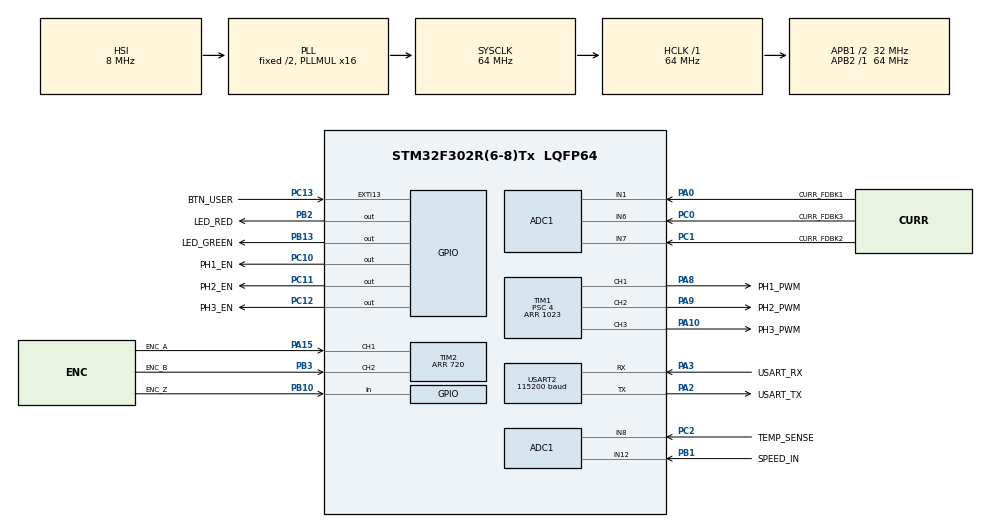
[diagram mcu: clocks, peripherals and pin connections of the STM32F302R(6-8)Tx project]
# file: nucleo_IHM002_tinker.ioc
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ADC1.Channel-0\#ChannelRegularConversion=ADC_CHANNEL_1
ADC1.ClockPrescaler=ADC_CLOCK_SYNC_PCLK_DIV1
ADC1.NbrOfConversionFlag=1
ADC1.Offset-0\#ChannelRegularConversion=0
ADC1.OffsetNumber-0\#ChannelRegularConversion=ADC_OFFSET_NONE
ADC1.Rank-0\#ChannelRegularConversion=1
ADC1.SamplingTime-0\#ChannelRegularConversion=ADC_SAMPLETIME_1CYCLE_5
ADC1.SubFamily=STM32F302x8
ADC1.master=1
Mcu.Family=STM32F3
Mcu.Name=STM32F302R(6-8)Tx
Mcu.Package=LQFP64
NVIC.PriorityGroup=NVIC_PRIORITYGROUP_4
NVIC.TIM1_TRG_COM_TIM17_IRQn=true\:0\:0\:false\:false\:true\:true\:true\:true
NVIC.TIM1_UP_TIM16_IRQn=true\:0\:0\:false\:false\:true\:true\:true\:true
NVIC.TIM2_IRQn=true\:2\:0\:true\:false\:true\:true\:true\:true
PA0.GPIO_Label=CURR_FDBK1
PA0.Mode=IN1-Single-Ended
PA0.Signal=ADC1_IN1
PA10.GPIO_Label=PH3_PWM
PA10.Signal=S_TIM1_CH3
PA13.GPIO_Label=TMS
PA13.Mode=Serial_Wire
PA13.Signal=SYS_JTMS-SWDIO
PA14.GPIO_Label=TCK
PA14.Mode=Serial_Wire
PA14.Signal=SYS_JTCK-SWCLK
PA15.GPIO_Label=ENC_A
PA15.Signal=S_TIM2_CH1_ETR
PA2.GPIO_Label=USART_TX
PA2.GPIO_Mode=GPIO_MODE_AF_PP
PA2.GPIO_PuPd=GPIO_NOPULL
PA2.GPIO_Speed=GPIO_SPEED_FREQ_LOW
PA2.Mode=Asynchronous
PA2.Signal=USART2_TX
PA3.GPIO_Label=USART_RX
PA3.GPIO_Mode=GPIO_MODE_AF_PP
PA3.GPIO_PuPd=GPIO_NOPULL
PA3.GPIO_Speed=GPIO_SPEED_FREQ_LOW
PA3.Mode=Asynchronous
PA3.Signal=USART2_RX
PA8.GPIO_Label=PH1_PWM
PA8.Signal=S_TIM1_CH1
PA9.GPIO_Label=PH2_PWM
PA9.Signal=S_TIM1_CH2
PB1.GPIO_Label=SPEED_IN
PB1.Mode=IN12-Single-Ended
PB1.Signal=ADC1_IN12
PB10.GPIO_Label=ENC_Z
PB10.Signal=GPIO_Input
PB13.GPIO_Label=LED_GREEN
PB13.Signal=GPIO_Output
PB2.GPIO_Label=LED_RED
PB2.Signal=GPIO_Output
PB3.GPIO_Label=ENC_B
PB3.Signal=S_TIM2_CH2
PC0.GPIO_Label=CURR_FDBK3
PC0.Signal=ADCx_IN6
PC1.GPIO_Label=CURR_FDBK2
PC1.Signal=ADCx_IN7
PC10.GPIO_Label=PH1_EN
PC10.Signal=GPIO_Output
PC11.GPIO_Label=PH2_EN
PC11.Signal=GPIO_Output
PC12.GPIO_Label=PH3_EN
PC12.Signal=GPIO_Output
PC13.GPIO_Label=BTN_USER
PC13.GPIO_ModeDefaultEXTI=GPIO_MODE_IT_FALLING
PC13.Signal=GPXTI13
PC14\ -\ OSC32_IN.Mode=LSE-External-Oscillator
PC14\ -\ OSC32_IN.Signal=RCC_OSC32_IN
PC15\ -\ OSC32_OUT.Mode=LSE-External-Oscillator
PC15\ -\ OSC32_OUT.Signal=RCC_OSC32_OUT
PC2.GPIO_Label=TEMP_SENSE
PC2.Signal=ADCx_IN8
PF0-OSC_IN.Mode=HSE-External-Clock-Source
PF0-OSC_IN.Signal=RCC_OSC_IN
PF1-OSC_OUT.Signal=RCC_OSC_OUT
ProjectManager.HeapSize=0x200
ProjectManager.StackSize=0x400
ProjectManager.TargetToolchain=STM32CubeIDE
RCC.AHBFreq_Value=64000000
RCC.APB1CLKDivider=RCC_HCLK_DIV2
RCC.APB1Freq_Value=32000000
RCC.APB1TimFreq_Value=64000000
RCC.APB2Freq_Value=64000000
RCC.APB2TimFreq_Value=64000000
RCC.CortexFreq_Value=64000000
RCC.HCLKFreq_Value=64000000
RCC.HSE_VALUE=8000000
RCC.HSI_VALUE=8000000
RCC.PLLM=8
RCC.PLLMUL=RCC_PLL_MUL16
RCC.PLLN=336
RCC.PLLP=RCC_PLLP_DIV4
RCC.PLLQ=7
RCC.RCC_PLLsource_Clock_Source_FROM_HSE=RCC_HSE_PREDIV_DIV2
RCC.SYSCLKFreq_VALUE=64000000
RCC.SYSCLKSourceVirtual=RCC_SYSCLKSOURCE_PLLCLK
RCC.USBFreq_Value=64000000
SH.ADCx_IN6.0=ADC1_IN6,IN6-Single-Ended
SH.ADCx_IN7.0=ADC1_IN7,IN7-Single-Ended
SH.ADCx_IN8.0=ADC1_IN8,IN8-Single-Ended
SH.S_TIM1_CH1.0=TIM1_CH1,PWM Generation1 CH1
SH.S_TIM1_CH2.0=TIM1_CH2,PWM Generation2 CH2
SH.S_TIM1_CH3.0=TIM1_CH3,PWM Generation3 CH3
SH.S_TIM2_CH1_ETR.0=TIM2_CH1,Encoder_Interface
SH.S_TIM2_CH2.0=TIM2_CH2,Encoder_Interface
TIM1.Channel-PWM\ Generation1\ CH1=TIM_CHANNEL_1
TIM1.Channel-PWM\ Generation2\ CH2=TIM_CHANNEL_2
TIM1.Channel-PWM\ Generation3\ CH3=TIM_CHANNEL_3
TIM1.Period=1023
TIM1.Prescaler=4
TIM1.Pulse-PWM\ Generation1\ CH1=500
TIM1.Pulse-PWM\ Generation2\ CH2=500
TIM1.Pulse-PWM\ Generation3\ CH3=750
TIM2.Period=720
USART2.BaudRate=115200
USART2.VirtualMode-Asynchronous=VM_ASYNC
VP_TIM1_VS_ClockSourceINT.Mode=Internal
board=NUCLEO-F302R8

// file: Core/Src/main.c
/* USER CODE BEGIN Header */
/**
  ******************************************************************************
  * @file           : main.c
  * @brief          : Main program body
  ******************************************************************************
  * @attention
  *
  * Copyright (c) 2022 STMicroelectronics.
  * All rights reserved.
  *
  * This software is licensed under terms that can be found in the LICENSE file
  * in the root directory of this software component.
  * If no LICENSE file comes with this software, it is provided AS-IS.
  *
  ******************************************************************************
  */
/* USER CODE END Header */
#include "main.h"
#include "adc.h"
#include "tim.h"
#include "usart.h"
#include "gpio.h"

/* USER CODE BEGIN Includes */
#include <stdio.h>

/* USER CODE END Includes */

/* USER CODE BEGIN PD */
#define STOP_HERE()    while(1);
/* USER CODE END PD */

/* USER CODE BEGIN PV */

const uint16_t sine[360] = {
     512, 521, 530, 539, 548, 557, 565, 574, 583, 592, 601, 610, 618, 627, 636, 644,
     653, 661, 670, 678, 687, 695, 703, 712, 720, 728, 736, 744, 752, 760, 768, 775,
     783, 790, 798, 805, 812, 820, 827, 834, 840, 847, 854, 861, 867, 873, 880, 886,
     892, 898, 903, 909, 915, 920, 925, 931, 936, 941, 945, 950, 955, 959, 963, 967,
     971, 975, 979, 982, 986, 989, 992, 995, 998,1001,1003,1006,1008,1010,1012,1014,
    1015,1017,1018,1019,1020,1021,1022,1022,1023,1023,1023,1023,1023,1022,1022,1021,
    1020,1019,1018,1017,1015,1014,1012,1010,1008,1006,1003,1001, 998, 995, 992, 989,
     986, 982, 979, 975, 971, 967, 963, 959, 955, 950, 945, 941, 936, 931, 925, 920,
     915, 909, 903, 898, 892, 886, 880, 873, 867, 861, 854, 847, 840, 834, 827, 820,
     812, 805, 798, 790, 783, 775, 768, 760, 752, 744, 736, 728, 720, 712, 703, 695,
     687, 678, 670, 661, 653, 644, 636, 627, 618, 610, 601, 592, 583, 574, 565, 557,
     548, 539, 530, 521, 512, 503, 494, 485, 476, 467, 459, 450, 441, 432, 423, 414,
     406, 397, 388, 380, 371, 363, 354, 346, 337, 329, 321, 312, 304, 296, 288, 280,
     272, 264, 256, 249, 241, 234, 226, 219, 212, 204, 197, 190, 184, 177, 170, 163,
     157, 151, 144, 138, 132, 126, 121, 115, 109, 104,  99,  93,  88,  83,  79,  74,
      69,  65,  61,  57,  53,  49,  45,  42,  38,  35,  32,  29,  26,  23,  21,  18,
      16,  14,  12,  10,   9,   7,   6,   5,   4,   3,   2,   2,   1,   1,   1,   1,
       1,   2,   2,   3,   4,   5,   6,   7,   9,  10,  12,  14,  16,  18,  21,  23,
      26,  29,  32,  35,  38,  42,  45,  49,  53,  57,  61,  65,  69,  74,  79,  83,
      88,  93,  99, 104, 109, 115, 121, 126, 132, 138, 144, 151, 157, 163, 170, 177,
     184, 190, 197, 204, 212, 219, 226, 234, 241, 249, 256, 264, 272, 280, 288, 296,
     304, 312, 321, 329, 337, 346, 354, 363, 371, 380, 388, 397, 406, 414, 423, 432,
     441, 450, 459, 467, 476, 485, 494, 503
};

/* USER CODE END PV */

void SystemClock_Config(void);

int main(void)
{

  /* MCU Configuration--------------------------------------------------------*/

  /* Reset of all peripherals, Initializes the Flash interface and the Systick. */
  HAL_Init();

  /* Configure the system clock */
  SystemClock_Config();

  /* Initialize all configured peripherals */
  MX_GPIO_Init();
  MX_USART2_UART_Init();
  MX_TIM2_Init();
  MX_ADC1_Init();
  MX_TIM1_Init();
  /* USER CODE BEGIN 2 */
  printf("\r\nReset.\r\n");
  printf(__DATE__ " " __TIME__ "\r\n");

  printf("Starting Timers...\r\n");

  /* Start PWM channels on TIM1 */
  if (HAL_TIM_PWM_Start(&htim1, TIM_CHANNEL_1) != HAL_OK)
   {
     printf("HAL_ERROR TIM1 Ch1 Start\r\n");
     STOP_HERE();
   }
  if (HAL_TIM_PWM_Start(&htim1, TIM_CHANNEL_2) != HAL_OK)
   {
      printf("HAL_ERROR TIM1 Ch3 Start\r\n");
      STOP_HERE();
   }
  if (HAL_TIM_PWM_Start(&htim1, TIM_CHANNEL_3) != HAL_OK)
   {
      printf("HAL_ERROR TIM1 Ch3 Start\r\n");
      STOP_HERE();
   }

  /* start encoder on TIM2 */
  if (HAL_TIM_Encoder_Start_IT(&htim2, TIM_CHANNEL_ALL) != HAL_OK)
  {
      printf("HAL_ERROR TIM2 start\r\n");
      STOP_HERE();
  }

  /* enable all 3 channels on motor driver IC */
  HAL_GPIO_WritePin(GPIOC, PH1_EN_Pin|PH2_EN_Pin|PH3_EN_Pin, GPIO_PIN_SET);

  /* USER CODE END 2 */

  /* Infinite loop */
  /* USER CODE BEGIN WHILE */
//  uint32_t last = 0xDEADBEEF;
//  uint32_t delay = 100;
  uint32_t phase = 0;
  while (1)
  {
      /* Get TIM2 current count value */
      // delay = htim2.Instance->CNT;
      // delay = (__HAL_TIM_GET_COUNTER(&htim2) >> 1);
      phase = (phase+1) % 360;

#define GAIN_DIVISOR 2
      uint32_t channel_a = sine[phase] / GAIN_DIVISOR;
      uint32_t channel_b = sine[(phase + 120) % 360] / GAIN_DIVISOR;
      uint32_t channel_c = sine[(phase + 240) % 360] / GAIN_DIVISOR;

//          printf("%d, %d, %d, %d\r\n", (int)phase, (int)channel_a, (int)channel_b, (int)channel_c);

       /* these should be back-to-back writes */
       /* TODO: Disable/enable the update event before/after writing timer CCR registers */
      __HAL_TIM_SetCompare(&htim1, TIM_CHANNEL_1, channel_a);
      __HAL_TIM_SetCompare(&htim1, TIM_CHANNEL_2, channel_b);
      __HAL_TIM_SetCompare(&htim1, TIM_CHANNEL_3, channel_c);

      HAL_Delay(1);

    /* USER CODE END WHILE */

  }
}

void SystemClock_Config(void)
{
  RCC_OscInitTypeDef RCC_OscInitStruct = {0};
  RCC_ClkInitTypeDef RCC_ClkInitStruct = {0};
  RCC_PeriphCLKInitTypeDef PeriphClkInit = {0};

  /** Initializes the RCC Oscillators according to the specified parameters
  * in the RCC_OscInitTypeDef structure.
  */
  RCC_OscInitStruct.OscillatorType = RCC_OSCILLATORTYPE_HSI;
  RCC_OscInitStruct.HSIState = RCC_HSI_ON;
  RCC_OscInitStruct.HSICalibrationValue = RCC_HSICALIBRATION_DEFAULT;
  RCC_OscInitStruct.PLL.PLLState = RCC_PLL_ON;
  RCC_OscInitStruct.PLL.PLLSource = RCC_PLLSOURCE_HSI;
  RCC_OscInitStruct.PLL.PLLMUL = RCC_PLL_MUL16;
  if (HAL_RCC_OscConfig(&RCC_OscInitStruct) != HAL_OK)
  {
    Error_Handler();
  }

  /** Initializes the CPU, AHB and APB buses clocks
  */
  RCC_ClkInitStruct.ClockType = RCC_CLOCKTYPE_HCLK|RCC_CLOCKTYPE_SYSCLK
                              |RCC_CLOCKTYPE_PCLK1|RCC_CLOCKTYPE_PCLK2;
  RCC_ClkInitStruct.SYSCLKSource = RCC_SYSCLKSOURCE_PLLCLK;
  RCC_ClkInitStruct.AHBCLKDivider = RCC_SYSCLK_DIV1;
  RCC_ClkInitStruct.APB1CLKDivider = RCC_HCLK_DIV2;
  RCC_ClkInitStruct.APB2CLKDivider = RCC_HCLK_DIV1;

  if (HAL_RCC_ClockConfig(&RCC_ClkInitStruct, FLASH_LATENCY_2) != HAL_OK)
  {
    Error_Handler();
  }
  PeriphClkInit.PeriphClockSelection = RCC_PERIPHCLK_TIM1;
  PeriphClkInit.Tim1ClockSelection = RCC_TIM1CLK_HCLK;
  if (HAL_RCCEx_PeriphCLKConfig(&PeriphClkInit) != HAL_OK)
  {
    Error_Handler();
  }
}

/* USER CODE BEGIN 4 */

/* Support printf() to STLINK UART by overwriting method from syscalls.c */
int _write(int file, char *ptr, int len)
{
    HAL_UART_Transmit(&huart2, (uint8_t *)ptr, (uint16_t)len, 1000);
    return len;
}

/* USER CODE END 4 */

void Error_Handler(void)
{
  __disable_irq();
  while (1)
  {
  }
}
